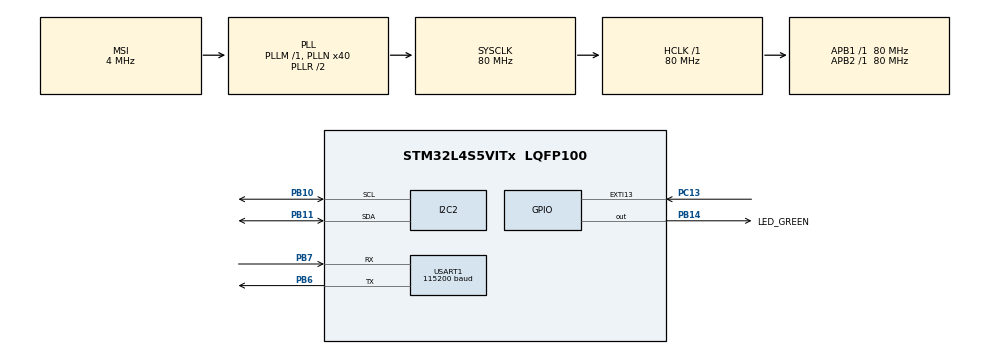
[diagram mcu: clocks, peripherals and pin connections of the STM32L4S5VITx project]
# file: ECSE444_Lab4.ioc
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FREERTOS.Tasks01=checkButton,0,128,StartDefaultTask,Default,NULL,Dynamic,NULL,NULL;transmitData,-3,128,StartTask02,Default,NULL,Dynamic,NULL,NULL;readSensorData,-3,128,StartTask03,Default,NULL,Dynamic,NULL,NULL
I2C2.Timing=0x10909CEC
Mcu.Family=STM32L4
Mcu.Name=STM32L4S5VITx
Mcu.Package=LQFP100
NVIC.EXTI15_10_IRQn=true\:5\:0\:false\:false\:true\:true\:true\:true
NVIC.PriorityGroup=NVIC_PRIORITYGROUP_4
NVIC.TIM6_DAC_IRQn=true\:0\:0\:false\:false\:true\:false\:false\:true
NVIC.TimeBase=TIM6_DAC_IRQn
NVIC.TimeBaseIP=TIM6
PB10.Mode=I2C
PB10.Signal=I2C2_SCL
PB11.Mode=I2C
PB11.Signal=I2C2_SDA
PB14.GPIO_Label=LED_GREEN
PB14.Signal=GPIO_Output
PB6.Mode=Asynchronous
PB6.Signal=USART1_TX
PB7.Mode=Asynchronous
PB7.Signal=USART1_RX
PC13.Signal=GPXTI13
ProjectManager.HeapSize=0x200
ProjectManager.StackSize=0x400
ProjectManager.TargetToolchain=STM32CubeIDE
RCC.ADCFreq_Value=48000000
RCC.AHBFreq_Value=80000000
RCC.APB1Freq_Value=80000000
RCC.APB1TimFreq_Value=80000000
RCC.APB2Freq_Value=80000000
RCC.APB2TimFreq_Value=80000000
RCC.CortexFreq_Value=80000000
RCC.HCLKFreq_Value=80000000
RCC.HSE_VALUE=8000000
RCC.HSI48_VALUE=48000000
RCC.HSI_VALUE=16000000
RCC.LSE_VALUE=32768
RCC.MSI_VALUE=4000000
RCC.PLLN=40
RCC.PLLSAI1N=24
RCC.SYSCLKFreq_VALUE=80000000
RCC.SYSCLKSource=RCC_SYSCLKSOURCE_PLLCLK
RCC.USBFreq_Value=48000000
RCC.VCOOutputFreq_Value=160000000
USART1.BaudRate=115200
USART1.VirtualMode-Asynchronous=VM_ASYNC
VP_FREERTOS_VS_CMSIS_V1.Mode=CMSIS_V1
VP_SYS_VS_tim6.Mode=TIM6
board=B-L4S5I-IOT01A

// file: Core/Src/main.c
/* USER CODE BEGIN Header */
/**
  ******************************************************************************
  * @file           : main.c
  * @brief          : Main program body
  ******************************************************************************
  * @attention
  *
  * <h2><center>&copy; Copyright (c) 2021 STMicroelectronics.
  * All rights reserved.</center></h2>
  *
  * This software component is licensed by ST under BSD 3-Clause license,
  * the "License"; You may not use this file except in compliance with the
  * License. You may obtain a copy of the License at:
  *                        opensource.org/licenses/BSD-3-Clause
  *
  ******************************************************************************
  */
/* USER CODE END Header */
#include "main.h"
#include "cmsis_os.h"

/* USER CODE BEGIN Includes */
/*
 * Sensors Included:
 * Temperature Sensor
 * Humidity Sensor
 * Accelerometer Sensor
 * Gyroscope Sensor
 * Pressure Sensor
 */
#include "hts221.h"
#include "lsm6dsl.h"
#include "lps22hb.h"
#include "stm32l4s5i_iot01.h"
#include "stm32l4s5i_iot01_tsensor.h"
#include "stm32l4s5i_iot01_hsensor.h"
#include "stm32l4s5i_iot01_accelero.h"
#include "stm32l4s5i_iot01_gyro.h"
#include "stm32l4s5i_iot01_psensor.h"
#include <stdio.h>
#include <string.h>
/* USER CODE END Includes */

/* USER CODE BEGIN PD */

//#define PART1
#define PART2
#define size 35
#define buffSize 200
#define OSDELAY 1000
#define OSDELAY2 25000
/* USER CODE END PD */

I2C_HandleTypeDef hi2c2;

UART_HandleTypeDef huart1;

osThreadId checkButtonHandle;
osThreadId transmitDataHandle;
osThreadId readSensorDataHandle;
/* USER CODE BEGIN PV */
//Variables
//int size = 100;
uint8_t state = 0;
float hValue;
float tValue;
int16_t accelero[3];
float psensor;
float gyro[3]; // Not used
//Buffers for SPRINTF
char hSensor_buffer[buffSize];
char tSensor_buffer[buffSize];
char accelero_buffer[buffSize];
char gyro_buffer[buffSize]; // Not Used
char pressure_buff[buffSize];
char msgBuff[buffSize];
char msgBuff2[buffSize];

/* USER CODE END PV */

void SystemClock_Config(void);
static void MX_GPIO_Init(void);
static void MX_I2C2_Init(void);
static void MX_USART1_UART_Init(void);
void ButtonPressedTask(void const * argument);
void TransmitDataTask(void const * argument);
void ReadSensorDataTask(void const * argument);

/* USER CODE BEGIN 0 */
#ifdef PART1
void HAL_GPIO_EXTI_Callback(uint16_t GPIO_Pin){
		HAL_GPIO_TogglePin(LED_GREEN_GPIO_Port, LED_GREEN_Pin);
		if(state%4 == 0){
			sprintf(hSensor_buffer, "\n Humidity Value: %d\r", (int)hValue);
			HAL_UART_Transmit(&huart1, (uint8_t*)hSensor_buffer, strlen(hSensor_buffer), HAL_UART_TIMEOUT_VALUE);
		}
		else if(state%4 == 1){
			sprintf(tSensor_buffer, "\n Temperature Value: %d\r", (int)tValue);
			HAL_UART_Transmit(&huart1, (uint8_t*)tSensor_buffer, strlen(tSensor_buffer), HAL_UART_TIMEOUT_VALUE);
		}
		else if(state%4 == 2){
			sprintf(accelero_buffer, "\n Accelerometer Values: X: %d Y: %d Z: %d\r", accelero[0], accelero[1], accelero[2]);
			HAL_UART_Transmit(&huart1, (uint8_t*)accelero_buffer, strlen(accelero_buffer), HAL_UART_TIMEOUT_VALUE);
		}
		else if(state%4 == 3){
			sprintf(pressure_buff, "\n Pressure Value: %d\r", (int)psensor);
			HAL_UART_Transmit(&huart1, (uint8_t*)pressure_buff, strlen(pressure_buff), HAL_UART_TIMEOUT_VALUE);
		}
		state += 1;
}
#endif

/* USER CODE END 0 */

int main(void)
{

  /* MCU Configuration--------------------------------------------------------*/

  /* Reset of all peripherals, Initializes the Flash interface and the Systick. */
  HAL_Init();

  /* USER CODE BEGIN Init */
  BSP_HSENSOR_Init();
  BSP_TSENSOR_Init();
  BSP_ACCELERO_Init();
  BSP_PSENSOR_Init();

  /* USER CODE END Init */

  /* Configure the system clock */
  SystemClock_Config();

  /* Initialize all configured peripherals */
  MX_GPIO_Init();
  MX_I2C2_Init();
  MX_USART1_UART_Init();

  /* USER CODE BEGIN RTOS_QUEUES */
  /* add queues, ... */
#ifdef PART2
  /* USER CODE END RTOS_QUEUES */

  /* Create the thread(s) */
  /* definition and creation of checkButton */
  osThreadDef(checkButton, ButtonPressedTask, osPriorityNormal, 0, 128);
  checkButtonHandle = osThreadCreate(osThread(checkButton), NULL);

  /* definition and creation of transmitData */
  osThreadDef(transmitData, TransmitDataTask, osPriorityIdle, 0, 128);
  transmitDataHandle = osThreadCreate(osThread(transmitData), NULL);

  /* definition and creation of readSensorData */
  osThreadDef(readSensorData, ReadSensorDataTask, osPriorityIdle, 0, 128);
  readSensorDataHandle = osThreadCreate(osThread(readSensorData), NULL);

  /* Start scheduler */
  osKernelStart();

  /* We should never get here as control is now taken by the scheduler */
  /* Infinite loop */
  /* USER CODE BEGIN WHILE */
#endif

  while (1){
    /* USER CODE END WHILE */

    /* USER CODE BEGIN 3 */
#ifdef PART1
	  hValue = BSP_HSENSOR_ReadHumidity();
	  tValue = BSP_TSENSOR_ReadTemp();
	  psensor = BSP_PSENSOR_ReadPressure();
	  BSP_ACCELERO_AccGetXYZ(accelero);
	  HAL_Delay(99);
#endif

  }
  /* USER CODE END 3 */
}

void SystemClock_Config(void)
{
  RCC_OscInitTypeDef RCC_OscInitStruct = {0};
  RCC_ClkInitTypeDef RCC_ClkInitStruct = {0};
  RCC_PeriphCLKInitTypeDef PeriphClkInit = {0};

  /** Configure the main internal regulator output voltage
  */
  if (HAL_PWREx_ControlVoltageScaling(PWR_REGULATOR_VOLTAGE_SCALE1) != HAL_OK)
  {
    Error_Handler();
  }
  /** Initializes the RCC Oscillators according to the specified parameters
  * in the RCC_OscInitTypeDef structure.
  */
  RCC_OscInitStruct.OscillatorType = RCC_OSCILLATORTYPE_MSI;
  RCC_OscInitStruct.MSIState = RCC_MSI_ON;
  RCC_OscInitStruct.MSICalibrationValue = 0;
  RCC_OscInitStruct.MSIClockRange = RCC_MSIRANGE_6;
  RCC_OscInitStruct.PLL.PLLState = RCC_PLL_ON;
  RCC_OscInitStruct.PLL.PLLSource = RCC_PLLSOURCE_MSI;
  RCC_OscInitStruct.PLL.PLLM = 1;
  RCC_OscInitStruct.PLL.PLLN = 40;
  RCC_OscInitStruct.PLL.PLLP = RCC_PLLP_DIV2;
  RCC_OscInitStruct.PLL.PLLQ = RCC_PLLQ_DIV2;
  RCC_OscInitStruct.PLL.PLLR = RCC_PLLR_DIV2;
  if (HAL_RCC_OscConfig(&RCC_OscInitStruct) != HAL_OK)
  {
    Error_Handler();
  }
  /** Initializes the CPU, AHB and APB buses clocks
  */
  RCC_ClkInitStruct.ClockType = RCC_CLOCKTYPE_HCLK|RCC_CLOCKTYPE_SYSCLK
                              |RCC_CLOCKTYPE_PCLK1|RCC_CLOCKTYPE_PCLK2;
  RCC_ClkInitStruct.SYSCLKSource = RCC_SYSCLKSOURCE_PLLCLK;
  RCC_ClkInitStruct.AHBCLKDivider = RCC_SYSCLK_DIV1;
  RCC_ClkInitStruct.APB1CLKDivider = RCC_HCLK_DIV1;
  RCC_ClkInitStruct.APB2CLKDivider = RCC_HCLK_DIV1;

  if (HAL_RCC_ClockConfig(&RCC_ClkInitStruct, FLASH_LATENCY_3) != HAL_OK)
  {
    Error_Handler();
  }
  PeriphClkInit.PeriphClockSelection = RCC_PERIPHCLK_USART1|RCC_PERIPHCLK_I2C2;
  PeriphClkInit.Usart1ClockSelection = RCC_USART1CLKSOURCE_PCLK2;
  PeriphClkInit.I2c2ClockSelection = RCC_I2C2CLKSOURCE_PCLK1;
  if (HAL_RCCEx_PeriphCLKConfig(&PeriphClkInit) != HAL_OK)
  {
    Error_Handler();
  }
}

static void MX_I2C2_Init(void)
{

  hi2c2.Instance = I2C2;
  hi2c2.Init.Timing = 0x10909CEC;
  hi2c2.Init.OwnAddress1 = 0;
  hi2c2.Init.AddressingMode = I2C_ADDRESSINGMODE_7BIT;
  hi2c2.Init.DualAddressMode = I2C_DUALADDRESS_DISABLE;
  hi2c2.Init.OwnAddress2 = 0;
  hi2c2.Init.OwnAddress2Masks = I2C_OA2_NOMASK;
  hi2c2.Init.GeneralCallMode = I2C_GENERALCALL_DISABLE;
  hi2c2.Init.NoStretchMode = I2C_NOSTRETCH_DISABLE;
  if (HAL_I2C_Init(&hi2c2) != HAL_OK)
  {
    Error_Handler();
  }
  /** Configure Analogue filter
  */
  if (HAL_I2CEx_ConfigAnalogFilter(&hi2c2, I2C_ANALOGFILTER_ENABLE) != HAL_OK)
  {
    Error_Handler();
  }
  /** Configure Digital filter
  */
  if (HAL_I2CEx_ConfigDigitalFilter(&hi2c2, 0) != HAL_OK)
  {
    Error_Handler();
  }

}

static void MX_USART1_UART_Init(void)
{

  huart1.Instance = USART1;
  huart1.Init.BaudRate = 115200;
  huart1.Init.WordLength = UART_WORDLENGTH_8B;
  huart1.Init.StopBits = UART_STOPBITS_1;
  huart1.Init.Parity = UART_PARITY_NONE;
  huart1.Init.Mode = UART_MODE_TX_RX;
  huart1.Init.HwFlowCtl = UART_HWCONTROL_NONE;
  huart1.Init.OverSampling = UART_OVERSAMPLING_16;
  huart1.Init.OneBitSampling = UART_ONE_BIT_SAMPLE_DISABLE;
  huart1.Init.ClockPrescaler = UART_PRESCALER_DIV1;
  huart1.AdvancedInit.AdvFeatureInit = UART_ADVFEATURE_NO_INIT;
  if (HAL_UART_Init(&huart1) != HAL_OK)
  {
    Error_Handler();
  }
  if (HAL_UARTEx_SetTxFifoThreshold(&huart1, UART_TXFIFO_THRESHOLD_1_8) != HAL_OK)
  {
    Error_Handler();
  }
  if (HAL_UARTEx_SetRxFifoThreshold(&huart1, UART_RXFIFO_THRESHOLD_1_8) != HAL_OK)
  {
    Error_Handler();
  }
  if (HAL_UARTEx_DisableFifoMode(&huart1) != HAL_OK)
  {
    Error_Handler();
  }

}

static void MX_GPIO_Init(void)
{
  GPIO_InitTypeDef GPIO_InitStruct = {0};

  /* GPIO Ports Clock Enable */
  __HAL_RCC_GPIOC_CLK_ENABLE();
  __HAL_RCC_GPIOB_CLK_ENABLE();

  /*Configure GPIO pin Output Level */
  HAL_GPIO_WritePin(LED_GREEN_GPIO_Port, LED_GREEN_Pin, GPIO_PIN_RESET);

  /*Configure GPIO pin : PC13 */
  GPIO_InitStruct.Pin = GPIO_PIN_13;
  GPIO_InitStruct.Mode = GPIO_MODE_IT_RISING;
  GPIO_InitStruct.Pull = GPIO_NOPULL;
  HAL_GPIO_Init(GPIOC, &GPIO_InitStruct);

  /*Configure GPIO pin : LED_GREEN_Pin */
  GPIO_InitStruct.Pin = LED_GREEN_Pin;
  GPIO_InitStruct.Mode = GPIO_MODE_OUTPUT_PP;
  GPIO_InitStruct.Pull = GPIO_NOPULL;
  GPIO_InitStruct.Speed = GPIO_SPEED_FREQ_LOW;
  HAL_GPIO_Init(LED_GREEN_GPIO_Port, &GPIO_InitStruct);

  /* EXTI interrupt init*/
  HAL_NVIC_SetPriority(EXTI15_10_IRQn, 5, 0);
  HAL_NVIC_EnableIRQ(EXTI15_10_IRQn);

}

/* USER CODE BEGIN Header_StartDefaultTask */
#ifdef PART2
/**
  * @brief  Function implementing the defaultTask thread.
  * @param  argument: Not used
  * @retval None
  */
/* USER CODE END Header_StartDefaultTask */
void ButtonPressedTask(void const * argument)
{
  /* USER CODE BEGIN 5 */
  /* Infinite loop */
  for(;;)
  {
    osDelay(OSDELAY);
    //Check if button pressed and increment state
    if(HAL_GPIO_ReadPin(GPIOC, GPIO_PIN_13) == GPIO_PIN_RESET){
    	state = (state+1)%4;
    	sprintf(msgBuff, "----- Button Pressed! Now in State: %d ------ \r", state);
    	HAL_UART_Transmit(&huart1, (uint8_t*)msgBuff, strlen(msgBuff), HAL_UART_TIMEOUT_VALUE);
    }
  }
  /* USER CODE END 5 */
}

void TransmitDataTask(void const * argument)
{
  /* USER CODE BEGIN StartTask02 */
  /* Infinite loop */
	for(;;)
	{
		osDelay(OSDELAY2);
		if(state == 0){
			hValue = BSP_HSENSOR_ReadHumidity();
			sprintf(msgBuff2, "\n Transmitting...\r");
			HAL_UART_Transmit(&huart1, (uint8_t*)msgBuff2, strlen(msgBuff2), HAL_UART_TIMEOUT_VALUE);
		}
		else if(state == 1){
			tValue = BSP_TSENSOR_ReadTemp();
			sprintf(msgBuff2, "\n Transmitting...\r");
			HAL_UART_Transmit(&huart1, (uint8_t*)msgBuff2, strlen(msgBuff2), HAL_UART_TIMEOUT_VALUE);

		}
		else if(state == 2){
			BSP_ACCELERO_AccGetXYZ(accelero);
			sprintf(msgBuff2, "\n Transmitting...\r");
			HAL_UART_Transmit(&huart1, (uint8_t*)msgBuff2, strlen(msgBuff2), HAL_UART_TIMEOUT_VALUE);

		}
		else if(state == 3){
			psensor = BSP_PSENSOR_ReadPressure();
			sprintf(msgBuff2, "\n Transmitting...\r");
			HAL_UART_Transmit(&huart1, (uint8_t*)msgBuff2, strlen(msgBuff2), HAL_UART_TIMEOUT_VALUE);

		}

	}
  /* USER CODE END StartTask02 */
}

void ReadSensorDataTask(void const * argument)
{
  /* USER CODE BEGIN StartTask03 */
  /* Infinite loop */
  for(;;)
  {
    osDelay(OSDELAY2);
	if(state%4 == 0){
		sprintf(hSensor_buffer, "\n Humidity Value: %d\r", (int)hValue);
		HAL_UART_Transmit(&huart1, (uint8_t*)hSensor_buffer, strlen(hSensor_buffer), HAL_UART_TIMEOUT_VALUE);
	}
	else if(state%4 == 1){
		sprintf(tSensor_buffer, "\n Temperature Value: %d C\r", (int)tValue);
		HAL_UART_Transmit(&huart1, (uint8_t*)tSensor_buffer, strlen(tSensor_buffer), HAL_UART_TIMEOUT_VALUE);
	}
	else if(state%4 == 2){
		sprintf(accelero_buffer, "\n Accelerometer Values: X: %d Y: %d Z: %d\r", accelero[0], accelero[1], accelero[2]);
		HAL_UART_Transmit(&huart1, (uint8_t*)accelero_buffer, strlen(accelero_buffer), HAL_UART_TIMEOUT_VALUE);
	}
	else if(state%4 == 3){
		sprintf(pressure_buff, "\n Pressure Value: %d Pa\r", (int)psensor);
		HAL_UART_Transmit(&huart1, (uint8_t*)pressure_buff, strlen(pressure_buff), HAL_UART_TIMEOUT_VALUE);
	}
  }
  /* USER CODE END StartTask03 */
}
#endif

 /**
  * @brief  Period elapsed callback in non blocking mode
  * @note   This function is called  when TIM6 interrupt took place, inside
  * HAL_TIM_IRQHandler(). It makes a direct call to HAL_IncTick() to increment
  * a global variable "uwTick" used as application time base.
  * @param  htim : TIM handle
  * @retval None
  */
void HAL_TIM_PeriodElapsedCallback(TIM_HandleTypeDef *htim)
{
  if (htim->Instance == TIM6) {
    HAL_IncTick();
  }
}

void Error_Handler(void)
{
  __disable_irq();
  while (1)
  {
  }
}

/************************ (C) COPYRIGHT STMicroelectronics *****END OF FILE****/
